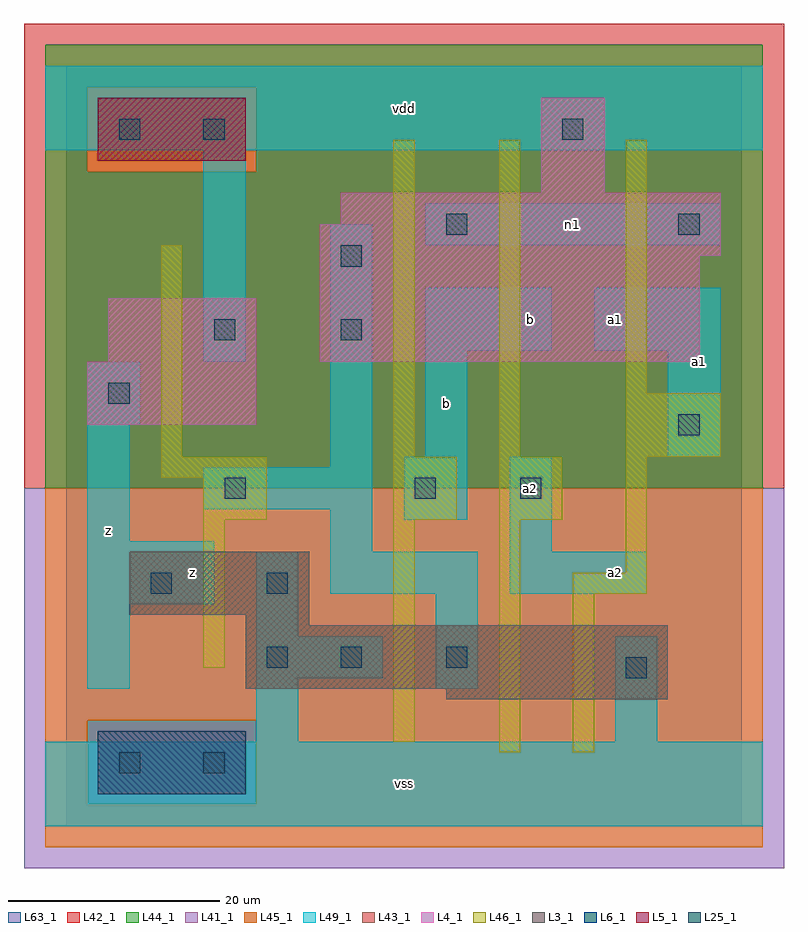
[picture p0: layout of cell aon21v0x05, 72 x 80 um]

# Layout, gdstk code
import gdstk
lib = gdstk.Library(unit=1e-6, precision=1e-09)
def R(c, l, rs):  # rectangles x0, y0, x1, y1
    for r in rs: c.add(gdstk.rectangle(r[:2], r[2:], *l))
L3_1 = (3, 1)
L4_1 = (4, 1)
L5_1 = (5, 1)
L6_1 = (6, 1)
L25_1 = (25, 1)
L41_1 = (41, 1)
L42_1 = (42, 1)
L43_1 = (43, 1)
L44_1 = (44, 1)
L45_1 = (45, 1)
L46_1 = (46, 1)
L49_1 = (49, 1)
L63_1 = (63, 1)

aon21v0x05 = lib.new_cell('aon21v0x05')
R(aon21v0x05, L3_1, [(36,12,57,13), (17,13,57,19), (17,19,23,20), (6,20,23,26)])
R(aon21v0x05, L4_1, [(2,38,18,44), (4,44,18,50), (24,44,60,54), (24,54,62,57), (26,57,62,60), (45,60,51,69)])
R(aon21v0x05, L5_1, [(3,63,17,69)])
R(aon21v0x05, L6_1, [(3,3,17,9), (3,3,17,9)])
R(aon21v0x05, L25_1, [(5,5,7,7), (13,5,15,7), (53,14,55,16), (19,15,21,17), (26,15,28,17), (36,15,38,17), (8,22,10,24), (19,22,21,24), (15,31,17,33), (33,31,35,33), (43,31,45,33), (58,37,60,39), (4,40,6,42), (14,46,16,48), (26,46,28,48), (26,53,28,55), (36,56,38,58), (58,56,60,58), (5,65,7,67), (13,65,15,67), (47,65,49,67)])
R(aon21v0x05, L41_1, [(-4,-4,68,32)])
R(aon21v0x05, L42_1, [(-4,32,68,76)])
R(aon21v0x05, L43_1, [(3,3,17,9), (36,12,57,13), (17,13,57,19), (17,19,23,20), (6,20,23,26), (2,38,18,44), (4,44,18,50), (24,44,60,54), (24,54,62,57), (26,57,62,60), (45,60,51,69), (3,63,17,69)])
R(aon21v0x05, L44_1, [(2,2,18,10), (-2,32,66,62), (-2,62,2,70), (18,62,66,70), (-2,70,66,74)])
R(aon21v0x05, L45_1, [(-2,-2,66,2), (-2,2,2,10), (18,2,66,10), (-2,10,66,32), (2,62,18,70)])
R(aon21v0x05, L46_1, [(41,7,43,29), (48,7,50,22), (31,8,33,29), (13,15,15,29), (48,22,55,24), (53,24,55,35), (13,29,19,33), (31,29,37,35), (41,29,47,35), (9,33,19,35), (9,35,11,55), (31,35,33,65), (41,35,43,65), (53,35,62,41), (53,41,55,65)])
R(aon21v0x05, L49_1, [(-2,0,66,8), (18,8,22,14), (52,8,56,18), (2,13,6,21), (35,13,39,22), (18,14,30,18), (18,18,22,26), (2,21,14,27), (25,22,39,26), (42,22,55,26), (25,26,29,30), (42,26,46,35), (2,27,6,38), (32,29,38,35), (13,30,29,34), (25,34,29,57), (34,35,38,45), (57,35,62,45), (2,38,7,44), (13,44,17,64), (34,45,46,51), (50,45,62,51), (34,55,62,59), (-2,64,66,72)])
R(aon21v0x05, L63_1, [(0,0,64,72)])
aon21v0x05.add(gdstk.Label('z', (4,28), layer=49, texttype=1))
aon21v0x05.add(gdstk.Label('z', (12,24), layer=49, texttype=1))
aon21v0x05.add(gdstk.Label('vss', (32,4), layer=49, texttype=1))
aon21v0x05.add(gdstk.Label('a2', (44,32), layer=49, texttype=1))
aon21v0x05.add(gdstk.Label('b', (36,40), layer=49, texttype=1))
aon21v0x05.add(gdstk.Label('b', (44,48), layer=49, texttype=1))
aon21v0x05.add(gdstk.Label('vdd', (32,68), layer=49, texttype=1))
aon21v0x05.add(gdstk.Label('a2', (52,24), layer=49, texttype=1))
aon21v0x05.add(gdstk.Label('a1', (52,48), layer=49, texttype=1))
aon21v0x05.add(gdstk.Label('a1', (60,44), layer=49, texttype=1))
aon21v0x05.add(gdstk.Label('n1', (48,57), layer=49, texttype=1))

lib.write_gds('aon21v0x05.gds')
